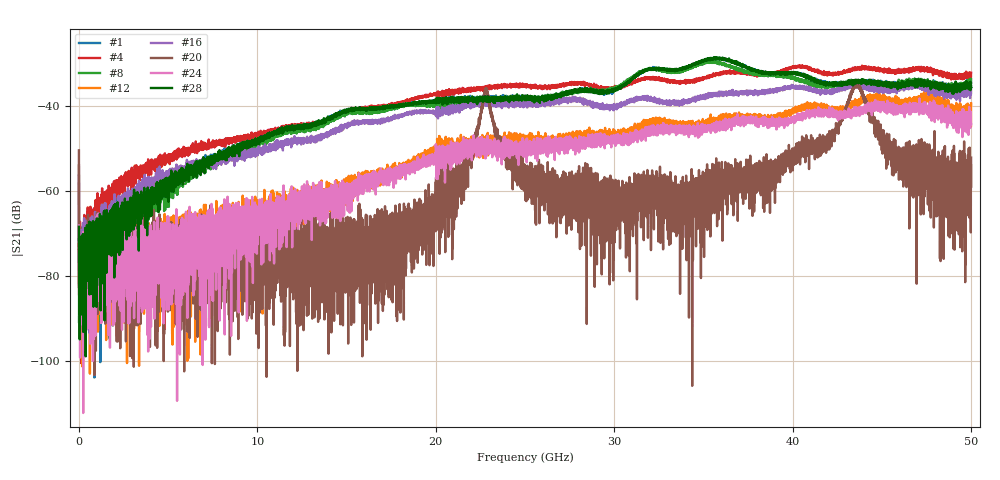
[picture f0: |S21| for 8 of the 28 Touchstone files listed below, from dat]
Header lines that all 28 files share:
!Created with skrf (http://scikit-rf.org).
# Hz S RI R 50.0
!freq ReS11 ImS11 ReS21 ImS21 ReS12 ImS12 ReS22 ImS22
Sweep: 300 kHz to 50 GHz
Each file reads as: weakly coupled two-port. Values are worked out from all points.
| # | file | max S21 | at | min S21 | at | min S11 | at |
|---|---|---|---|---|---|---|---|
| 1 | drift01_123_so1o2.s2p | -28.68 dB | 35.59 GHz | -103.8 dB | 865.3 MHz | -25.8 dB | 5.3 MHz |
| 2 | drift01_123_so1o2o3o4.s2p | -34.77 dB | 43.54 GHz | -106.1 dB | 4.925 GHz | -6.6 dB | 47.15 GHz |
| 3 | drift01_123_so1o2o4.s2p | -36.89 dB | 47.56 GHz | -110.7 dB | 5.795 GHz | -6.2 dB | 29.64 GHz |
| 4 | drift01_123_so1o4.s2p | -30.60 dB | 40.37 GHz | -100.4 dB | 130.3 MHz | -57.9 dB | 30.9 GHz |
| 5 | drift01_123_so2o3.s2p | -31.47 dB | 47.2 GHz | -94.6 dB | 135.3 MHz | -6.6 dB | 47.15 GHz |
| 6 | drift01_123_so2o3o4.s2p | -38.75 dB | 45.23 GHz | -103.4 dB | 915.3 MHz | -6.6 dB | 47.15 GHz |
| 7 | drift01_123_so3.s2p | -34.17 dB | 47.08 GHz | -99.3 dB | 240.3 MHz | -6.6 dB | 47.2 GHz |
| 8 | drift01_123_so3o4.s2p | -29.57 dB | 35.43 GHz | -94.7 dB | 1.725 GHz | -6.6 dB | 47.28 GHz |
| 9 | drift01_124_so1.s2p | -34.04 dB | 43.9 GHz | -95.3 dB | 675.3 MHz | -27.6 dB | 18.12 GHz |
| 10 | drift01_124_so1o2.s2p | -28.64 dB | 35.63 GHz | -103.1 dB | 690.3 MHz | -25.8 dB | 5.3 MHz |
| 11 | drift01_124_so1o2o3o4.s2p | -34.69 dB | 43.54 GHz | -110.2 dB | 13.22 GHz | -6.5 dB | 47.28 GHz |
| 12 | drift01_124_so1o2o4.s2p | -36.59 dB | 47.56 GHz | -102.9 dB | 615.3 MHz | -6.2 dB | 29.61 GHz |
| 13 | drift01_124_so1o4.s2p | -30.51 dB | 40.55 GHz | -93.5 dB | 370.3 MHz | -56.4 dB | 39.88 GHz |
| 14 | drift01_124_so2o3.s2p | -31.46 dB | 46.74 GHz | -97.6 dB | 280.3 MHz | -6.6 dB | 47.2 GHz |
| 15 | drift01_124_so2o3o4.s2p | -38.81 dB | 44.6 GHz | -105.5 dB | 1.985 GHz | -6.6 dB | 47.07 GHz |
| 16 | drift01_124_so3.s2p | -34.47 dB | 47.21 GHz | -93.3 dB | 585.3 MHz | -6.6 dB | 47.12 GHz |
| 17 | drift01_124_so3o4.s2p | -29.48 dB | 35.42 GHz | -96.2 dB | 95.3 MHz | -6.5 dB | 47.14 GHz |
| 18 | drift01_125_so1.s2p | -34.05 dB | 40.27 GHz | -96.9 dB | 370.3 MHz | -27.9 dB | 49.67 GHz |
| 19 | drift01_125_so1o2.s2p | -28.74 dB | 35.58 GHz | -95.1 dB | 620.3 MHz | -25.8 dB | 5.3 MHz |
| 20 | drift01_125_so1o2o3o4.s2p | -34.68 dB | 43.56 GHz | -105.8 dB | 34.37 GHz | -6.6 dB | 47.21 GHz |
| 21 | drift01_125_so1o2o4.s2p | -36.73 dB | 47.69 GHz | -110.0 dB | 440.3 MHz | -6.2 dB | 29.61 GHz |
| 22 | drift01_125_so1o4.s2p | -30.53 dB | 40.34 GHz | -94.1 dB | 105.3 MHz | -57.8 dB | 30.9 GHz |
| 23 | drift01_125_so2o3.s2p | -31.56 dB | 47.23 GHz | -100.8 dB | 145.3 MHz | -6.6 dB | 47.11 GHz |
| 24 | drift01_125_so2o3o4.s2p | -38.31 dB | 47.11 GHz | -112.1 dB | 240.3 MHz | -6.6 dB | 47.28 GHz |
| 25 | drift01_125_so3.s2p | -34.01 dB | 47.01 GHz | -110.5 dB | 240.3 MHz | -6.6 dB | 47.2 GHz |
| 26 | drift01_125_so3o4.s2p | -29.54 dB | 35.35 GHz | -97.6 dB | 320.3 MHz | -6.6 dB | 47.22 GHz |
| 27 | drift01_126_so1.s2p | -34.07 dB | 40.19 GHz | -97.7 dB | 515.3 MHz | -27.7 dB | 49.69 GHz |
| 28 | drift01_126_so1o2.s2p | -28.66 dB | 35.74 GHz | -98.9 dB | 380.3 MHz | -25.8 dB | 5.3 MHz |
